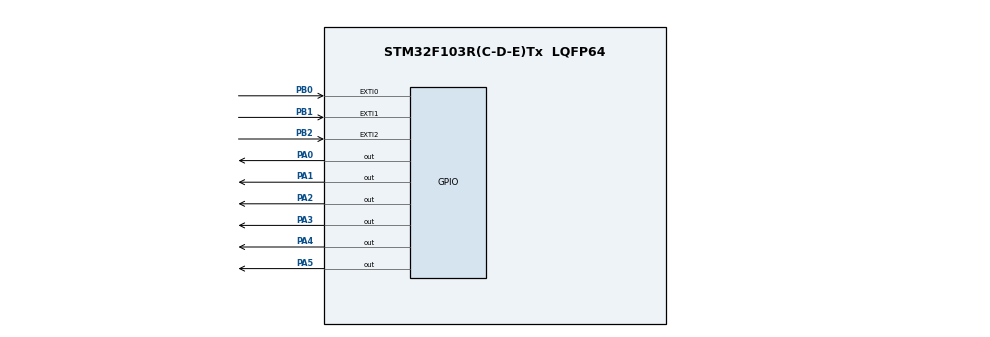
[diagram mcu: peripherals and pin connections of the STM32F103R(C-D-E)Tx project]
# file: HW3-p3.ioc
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Mcu.Family=STM32F1
Mcu.Name=STM32F103R(C-D-E)Tx
Mcu.Package=LQFP64
NVIC.EXTI0_IRQn=true\:0\:0\:false\:false\:true\:true\:true\:true
NVIC.EXTI1_IRQn=true\:0\:0\:false\:false\:true\:true\:true\:true
NVIC.EXTI2_IRQn=true\:0\:0\:false\:false\:true\:true\:true\:true
NVIC.PriorityGroup=NVIC_PRIORITYGROUP_4
PA0-WKUP.Signal=GPIO_Output
PA1.Signal=GPIO_Output
PA13.Mode=Serial_Wire
PA13.Signal=SYS_JTMS-SWDIO
PA14.Mode=Serial_Wire
PA14.Signal=SYS_JTCK-SWCLK
PA2.Signal=GPIO_Output
PA3.Signal=GPIO_Output
PA4.Signal=GPIO_Output
PA5.Signal=GPIO_Output
PB0.GPIO_ModeDefaultEXTI=GPIO_MODE_IT_RISING_FALLING
PB0.GPIO_PuPd=GPIO_PULLUP
PB0.Signal=GPXTI0
PB1.GPIO_ModeDefaultEXTI=GPIO_MODE_IT_RISING_FALLING
PB1.GPIO_PuPd=GPIO_PULLUP
PB1.Signal=GPXTI1
PB2.GPIO_ModeDefaultEXTI=GPIO_MODE_IT_RISING_FALLING
PB2.GPIO_PuPd=GPIO_PULLUP
PB2.Signal=GPXTI2
PD0-OSC_IN.Mode=HSE-External-Oscillator
PD0-OSC_IN.Signal=RCC_OSC_IN
PD1-OSC_OUT.Mode=HSE-External-Oscillator
PD1-OSC_OUT.Signal=RCC_OSC_OUT
ProjectManager.HeapSize=0x200
ProjectManager.StackSize=0x400
ProjectManager.TargetToolchain=MDK-ARM V5.32
RCC.APB1Freq_Value=8000000
RCC.APB2Freq_Value=8000000
board=custom

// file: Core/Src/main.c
/* USER CODE BEGIN Header */
/**
  ******************************************************************************
  * @file           : main.c
  * @brief          : Main program body
  ******************************************************************************
  * @attention
  *
  * Copyright (c) 2026 STMicroelectronics.
  * All rights reserved.
  *
  * This software is licensed under terms that can be found in the LICENSE file
  * in the root directory of this software component.
  * If no LICENSE file comes with this software, it is provided AS-IS.
  *
  ******************************************************************************
  */
/* USER CODE END Header */
#include "main.h"

/* USER CODE BEGIN Includes */
#include "lcd.h"
#include <string.h>
#include <stdio.h>
/* USER CODE END Includes */

/* USER CODE BEGIN PD */
// Button pins (PB0..2)
#define BTN1_PIN      GPIO_PIN_0
#define BTN2_PIN      GPIO_PIN_1
#define BTN3_PIN      GPIO_PIN_2
#define BTN_PORT      GPIOB

// LCD control
#define RS_PIN        GPIO_PIN_0
#define RS_PORT       GPIOA
#define ENB_PIN       GPIO_PIN_1
#define ENB_PORT      GPIOA
#define LCD_PORTS     {GPIOA, GPIOA, GPIOA, GPIOA}
#define LCD_PINS      {GPIO_PIN_2, GPIO_PIN_3, GPIO_PIN_4, GPIO_PIN_5}
/* USER CODE END PD */

/* USER CODE BEGIN PV */
Lcd_HandleTypeDef lcd;

volatile uint8_t btn1_flag = 0;
volatile uint8_t btn2_flag = 0;
volatile uint8_t btn3_flag = 0;

volatile uint8_t button_event_occurred = 0;

volatile uint8_t was_multi = 0;

/* USER CODE END PV */

void SystemClock_Config(void);
static void MX_GPIO_Init(void);

/* USER CODE BEGIN 0 */
void HAL_GPIO_EXTI_Callback(uint16_t GPIO_Pin)
{
    static uint32_t last_time[3] = {0};   // debounce timers for PB0..PB2
    uint32_t now = HAL_GetTick();
    GPIO_PinState state;

    switch (GPIO_Pin)
    {
        case BTN1_PIN:
            if (now - last_time[0] > 50)   // 50 ms debounce
            {
                last_time[0] = now;
                state = HAL_GPIO_ReadPin(BTN_PORT, BTN1_PIN);
                if (state == GPIO_PIN_RESET)       // active low → pressed
                {
                    if (btn1_flag == 0)
                    {
                        btn1_flag = 1;
                        button_event_occurred = 1;
                    }
                }
                else                                 // released
                {
                    if (btn1_flag == 1)
                    {
                        btn1_flag = 0;
                        button_event_occurred = 1;
                    }
                }
            }
            break;

        case BTN2_PIN:
            if (now - last_time[1] > 50)
            {
                last_time[1] = now;
                state = HAL_GPIO_ReadPin(BTN_PORT, BTN2_PIN);
                if (state == GPIO_PIN_RESET)
                {
                    if (btn2_flag == 0)
                    {
                        btn2_flag = 1;
                        button_event_occurred = 1;
                    }
                }
                else
                {
                    if (btn2_flag == 1)
                    {
                        btn2_flag = 0;
                        button_event_occurred = 1;
                    }
                }
            }
            break;

        case BTN3_PIN:
            if (now - last_time[2] > 50)
            {
                last_time[2] = now;
                state = HAL_GPIO_ReadPin(BTN_PORT, BTN3_PIN);
                if (state == GPIO_PIN_RESET)
                {
                    if (btn3_flag == 0)
                    {
                        btn3_flag = 1;
                        button_event_occurred = 1;
                    }
                }
                else
                {
                    if (btn3_flag == 1)
                    {
                        btn3_flag = 0;
                        button_event_occurred = 1;
                    }
                }
            }
            break;

        default:
            break;
    }
}
/* USER CODE END 0 */

int main(void)
{

  /* MCU Configuration--------------------------------------------------------*/

  /* Reset of all peripherals, Initializes the Flash interface and the Systick. */
  HAL_Init();

  /* Configure the system clock */
  SystemClock_Config();

  /* Initialize all configured peripherals */
  MX_GPIO_Init();
	GPIOB->ODR |= (BTN1_PIN | BTN2_PIN | BTN3_PIN);

  /* USER CODE BEGIN 2 */

	Lcd_PortType ports[] = LCD_PORTS;
    Lcd_PinType pins[]   = LCD_PINS;
    lcd = Lcd_create(ports, pins, RS_PORT, RS_PIN, ENB_PORT, ENB_PIN, LCD_4_BIT_MODE);
    Lcd_clear(&lcd);

	Lcd_cursor(&lcd, 0, 0);
    Lcd_string(&lcd, "Ready           ");
    Lcd_cursor(&lcd, 1, 0);
    Lcd_string(&lcd, "                ");

	uint8_t prev_count = 0;
    uint8_t prev_btn1 = 0, prev_btn2 = 0, prev_btn3 = 0;

  /* USER CODE END 2 */

  /* Infinite loop */
  while (1)
  {

    /* USER CODE BEGIN 3 */

		if (button_event_occurred ||
            btn1_flag != prev_btn1 ||
            btn2_flag != prev_btn2 ||
            btn3_flag != prev_btn3)
        {
            button_event_occurred = 0;

            uint8_t cnt = btn1_flag + btn2_flag + btn3_flag;

            uint8_t single_sensor = 0;
            if (cnt == 1)
            {
                if (btn1_flag) single_sensor = 1;
                else if (btn2_flag) single_sensor = 2;
                else single_sensor = 3;
            }

            if (cnt >= 2)
                was_multi = 1;
            else if (cnt == 0)
                was_multi = 0;

            char lcd_line1[17] = "";
            char lcd_line2[17] = "";

            if (cnt >= 2)
            {
                strcpy(lcd_line1, "Multiple Interf");
                strcpy(lcd_line2, "erence         ");
            }
            else if (cnt == 0)
            {
                strcpy(lcd_line1, "Ready           ");
                strcpy(lcd_line2, "                ");
            }
            else
            {
                if (was_multi)
                {
                    strcpy(lcd_line1, "Ready           ");
                    strcpy(lcd_line2, "                ");
                }
                else
                {
                    sprintf(lcd_line1, "Sensor %d       ", single_sensor);
                    strcpy(lcd_line2, "                ");
                }
            }

            Lcd_clear(&lcd);
            Lcd_cursor(&lcd, 0, 0);
            Lcd_string(&lcd, lcd_line1);
            Lcd_cursor(&lcd, 1, 0);
            Lcd_string(&lcd, lcd_line2);

            prev_count = cnt;
            prev_btn1 = btn1_flag;
            prev_btn2 = btn2_flag;
            prev_btn3 = btn3_flag;
        }

        HAL_Delay(10);

	}
  /* USER CODE END 3 */
}

void SystemClock_Config(void)
{
  RCC_OscInitTypeDef RCC_OscInitStruct = {0};
  RCC_ClkInitTypeDef RCC_ClkInitStruct = {0};

  /** Initializes the RCC Oscillators according to the specified parameters
  * in the RCC_OscInitTypeDef structure.
  */
  RCC_OscInitStruct.OscillatorType = RCC_OSCILLATORTYPE_HSI;
  RCC_OscInitStruct.HSIState = RCC_HSI_ON;
  RCC_OscInitStruct.HSICalibrationValue = RCC_HSICALIBRATION_DEFAULT;
  RCC_OscInitStruct.PLL.PLLState = RCC_PLL_NONE;
  if (HAL_RCC_OscConfig(&RCC_OscInitStruct) != HAL_OK)
  {
    Error_Handler();
  }

  /** Initializes the CPU, AHB and APB buses clocks
  */
  RCC_ClkInitStruct.ClockType = RCC_CLOCKTYPE_HCLK|RCC_CLOCKTYPE_SYSCLK
                              |RCC_CLOCKTYPE_PCLK1|RCC_CLOCKTYPE_PCLK2;
  RCC_ClkInitStruct.SYSCLKSource = RCC_SYSCLKSOURCE_HSI;
  RCC_ClkInitStruct.AHBCLKDivider = RCC_SYSCLK_DIV1;
  RCC_ClkInitStruct.APB1CLKDivider = RCC_HCLK_DIV1;
  RCC_ClkInitStruct.APB2CLKDivider = RCC_HCLK_DIV1;

  if (HAL_RCC_ClockConfig(&RCC_ClkInitStruct, FLASH_LATENCY_0) != HAL_OK)
  {
    Error_Handler();
  }
}

static void MX_GPIO_Init(void)
{
  GPIO_InitTypeDef GPIO_InitStruct = {0};

  /* GPIO Ports Clock Enable */
  __HAL_RCC_GPIOD_CLK_ENABLE();
  __HAL_RCC_GPIOA_CLK_ENABLE();
  __HAL_RCC_GPIOB_CLK_ENABLE();

  /*Configure GPIO pin Output Level */
  HAL_GPIO_WritePin(GPIOA, GPIO_PIN_0|GPIO_PIN_1|GPIO_PIN_2|GPIO_PIN_3
                          |GPIO_PIN_4|GPIO_PIN_5, GPIO_PIN_RESET);

  /*Configure GPIO pins : PA0 PA1 PA2 PA3
                           PA4 PA5 */
  GPIO_InitStruct.Pin = GPIO_PIN_0|GPIO_PIN_1|GPIO_PIN_2|GPIO_PIN_3
                          |GPIO_PIN_4|GPIO_PIN_5;
  GPIO_InitStruct.Mode = GPIO_MODE_OUTPUT_PP;
  GPIO_InitStruct.Pull = GPIO_NOPULL;
  GPIO_InitStruct.Speed = GPIO_SPEED_FREQ_LOW;
  HAL_GPIO_Init(GPIOA, &GPIO_InitStruct);

  /*Configure GPIO pins : PB0 PB1 PB2 */
  GPIO_InitStruct.Pin = GPIO_PIN_0|GPIO_PIN_1|GPIO_PIN_2;
  GPIO_InitStruct.Mode = GPIO_MODE_IT_RISING_FALLING;
  GPIO_InitStruct.Pull = GPIO_PULLUP;
  HAL_GPIO_Init(GPIOB, &GPIO_InitStruct);

  /* EXTI interrupt init*/
  HAL_NVIC_SetPriority(EXTI0_IRQn, 0, 0);
  HAL_NVIC_EnableIRQ(EXTI0_IRQn);

  HAL_NVIC_SetPriority(EXTI1_IRQn, 0, 0);
  HAL_NVIC_EnableIRQ(EXTI1_IRQn);

  HAL_NVIC_SetPriority(EXTI2_IRQn, 0, 0);
  HAL_NVIC_EnableIRQ(EXTI2_IRQn);

}

void Error_Handler(void)
{
  __disable_irq();
  while (1)
  {
  }
}
